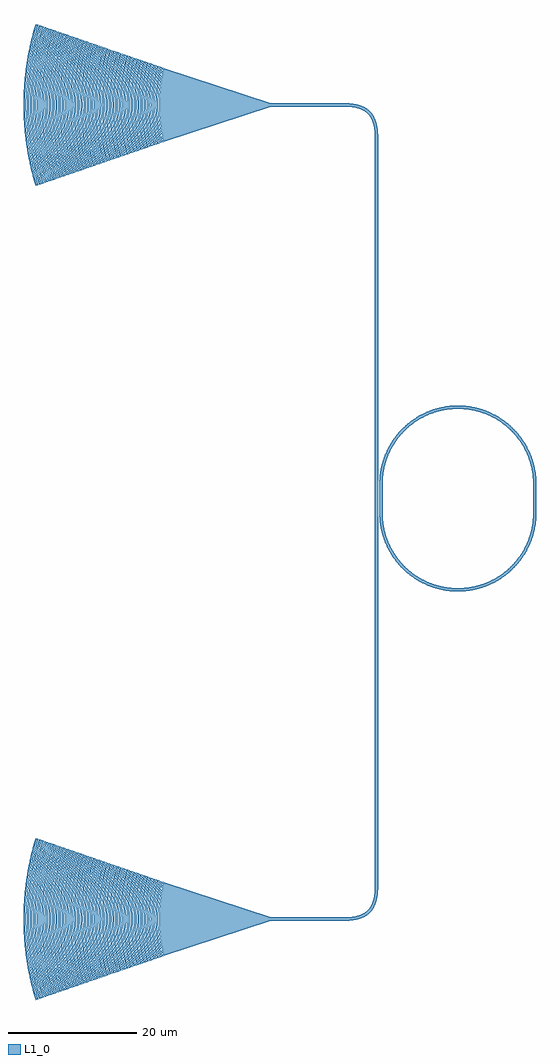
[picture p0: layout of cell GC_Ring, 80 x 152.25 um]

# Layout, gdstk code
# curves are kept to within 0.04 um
from math import pi, radians
import gdstk
lib = gdstk.Library(unit=1e-6, precision=1e-09)
def R(c, l, rs):  # rectangles x0, y0, x1, y1
    for r in rs: c.add(gdstk.rectangle(r[:2], r[2:], *l))
def P(c, l, *ps):  # polygons
    for p in ps: c.add(gdstk.Polygon(p, *l))
L1_0 = (1, 0)

rwg_2 = lib.new_cell('rwg_2')
P(rwg_2, L1_0, [(0,-0.25),(0,0.25),(11.852,0.25),(13.153,0.35),(14.145,0.599),(14.941,0.998),(15.558,1.552),(16.016,2.276),(16.372,3.431),(16.5,4.898),(16.5,35.85),(17,35.85),(17,4.893),(16.863,3.34),(16.675,2.589),(16.435,1.994),(15.892,1.173),(15.158,0.542),(14.161,0.075),(13.048,-0.171),(11.857,-0.25)])

racetrack = lib.new_cell('racetrack')
R(racetrack, L1_0, [(0,-0.25,4.5,0.25), (0,-0.25,1,0.25), (4.5,-0.25,55.5,0.25), (55.5,-0.25,60,0.25), (59,-0.25,60,0.25), (27.75,0.45,32.25,0.95), (27.75,24.45,32.25,24.95)])
P(racetrack, L1_0, [(27.75,0.45),(26.82,0.485),(25.742,0.616),(24.83,0.803),(23.788,1.108),(22.777,1.505),(21.805,1.989),(20.88,2.558),(20.13,3.109),(19.31,3.821),(18.455,4.721),(17.785,5.575),(17.115,6.62),(16.433,8.012),(16.439,9.517),(17.039,7.867),(17.959,6.202),(19.136,4.707),(20.424,3.513),(21.252,2.909),(22.13,2.38),(23.869,1.609),(25.71,1.128),(26.726,0.995),(27.75,0.95)],
  [(16.433,8.012),(16.016,9.181),(15.751,10.234),(15.563,11.461),(15.5,12.7),(16,12.7),(16.11,11.094),(16.439,9.517)],
  [(36.212,1.108),(36.131,1.609),(37.741,2.311),(39.228,3.245),(40.662,4.495),(41.791,5.841),(42.706,7.339),(43.434,9.097),(43.869,10.949),(44,12.7),(44.5,12.7),(44.359,10.845),(44.147,9.78),(43.891,8.885),(43.179,7.166),(42.215,5.575),(41.021,4.148),(39.625,2.919),(38.73,2.304),(37.922,1.842)],
  [(32.25,0.45),(32.25,0.95),(33.274,0.995),(34.29,1.128),(36.131,1.609),(36.212,1.108),(35.769,0.966),(34.105,0.591)],
  [(44,12.7),(43.89,14.306),(43.521,16.023),(42.9,17.666),(42.041,19.198),(40.864,20.693),(39.461,21.978),(37.87,23.02),(36.131,23.791),(36.212,24.292),(37.922,23.558),(38.73,23.096),(39.625,22.481),(40.462,21.79),(41.129,21.14),(41.744,20.441),(42.392,19.57),(42.961,18.645),(43.445,17.673),(43.842,16.662),(44.183,15.469),(44.42,14.094),(44.5,12.7)],
  [(36.131,23.791),(34.29,24.272),(33.274,24.405),(32.25,24.45),(32.25,24.95),(34.105,24.809),(35.769,24.434),(36.212,24.292)],
  [(16.439,15.883),(16.433,17.388),(17.115,18.78),(17.785,19.825),(18.455,20.679),(19.31,21.579),(20.13,22.291),(20.88,22.842),(21.805,23.411),(22.777,23.895),(23.788,24.292),(24.83,24.597),(25.742,24.784),(26.82,24.915),(27.75,24.95),(27.75,24.45),(26.726,24.405),(25.71,24.272),(23.869,23.791),(22.13,23.02),(21.252,22.491),(20.424,21.887),(19.136,20.693),(17.959,19.198),(17.039,17.533)],
  [(15.5,12.7),(15.563,13.939),(15.751,15.166),(16.016,16.219),(16.433,17.388),(16.439,15.883),(16.11,14.306),(16,12.7)])

rwg_1 = lib.new_cell('rwg_1')
P(rwg_1, L1_0, [(16.5,-31.65),(16.5,-4.898),(16.356,-3.35),(16.176,-2.674),(15.955,-2.153),(15.474,-1.456),(14.831,-0.927),(14.076,-0.574),(13.068,-0.337),(11.852,-0.25),(0,-0.25),(0,0.25),(11.857,0.25),(13.048,0.171),(14.161,-0.075),(15.093,-0.501),(15.842,-1.118),(16.4,-1.924),(16.675,-2.589),(16.829,-3.166),(16.953,-3.985),(17,-4.893),(17,-31.65)])

grating_coupler = lib.new_cell('grating_coupler')
R(grating_coupler, L1_0, [(-1,-0.25,0,0.25)])
P(grating_coupler, L1_0, [(-17.218,-5.929),(-17.516,-4.634),(-17.773,-3.095),(-17.918,-1.669),(-17.977,-0.119),(-17.941,1.311),(-17.803,2.858),(-17.562,4.398),(-17.218,5.929),(-16.972,5.844),(-17.288,4.452),(-17.532,2.934),(-17.675,1.41),(-17.717,0.118),(-17.675,-1.41),(-17.532,-2.934),(-17.288,-4.452),(-16.972,-5.844)],
  [(-16.869,-5.809),(-17.036,-5.118),(-17.182,-4.424),(-17.325,-3.613),(-17.409,-3.032),(-17.491,-2.334),(-17.559,-1.518),(-17.59,-0.934),(-17.608,-0.117),(-17.604,0.467),(-17.573,1.284),(-17.513,2.101),(-17.439,2.799),(-17.343,3.497),(-17.226,4.193),(-17.062,5.002),(-16.869,5.809),(-16.795,5.783),(-16.962,5.095),(-17.129,4.29),(-17.284,3.366),(-17.389,2.555),(-17.446,1.975),(-17.495,1.279),(-17.53,0.116),(-17.526,-0.465),(-17.495,-1.279),(-17.446,-1.975),(-17.389,-2.555),(-17.284,-3.366),(-17.129,-4.29),(-16.962,-5.095),(-16.795,-5.783)],
  [(-17.744,-6.11),(-18.054,-4.777),(-18.304,-3.313),(-18.472,-1.72),(-18.533,-0.123),(-18.488,1.475),(-18.352,2.946),(-18.102,4.533),(-17.744,6.11),(-17.498,6.025),(-17.826,4.59),(-18.08,3.026),(-18.213,1.696),(-18.273,0.121),(-18.229,-1.454),(-18.08,-3.026),(-17.826,-4.59),(-17.498,-6.025)],
  [(-17.395,-5.99),(-17.569,-5.278),(-17.721,-4.563),(-17.85,-3.846),(-17.973,-3.008),(-18.054,-2.287),(-18.113,-1.566),(-18.145,-0.964),(-18.164,-0.12),(-18.157,0.602),(-18.113,1.566),(-18.054,2.287),(-17.973,3.008),(-17.85,3.846),(-17.721,4.563),(-17.569,5.278),(-17.395,5.99),(-17.321,5.964),(-17.521,5.137),(-17.668,4.425),(-17.812,3.591),(-17.911,2.875),(-17.988,2.158),(-18.035,1.559),(-18.067,0.959),(-18.086,0.12),(-18.079,-0.6),(-18.05,-1.319),(-17.988,-2.158),(-17.939,-2.636),(-17.812,-3.591),(-17.668,-4.425),(-17.521,-5.137),(-17.321,-5.964)],
  [(-18.269,-6.291),(-18.641,-4.668),(-18.885,-3.16),(-19.034,-1.645),(-19.089,-0.127),(-19.05,1.392),(-18.885,3.16),(-18.641,4.668),(-18.269,6.291),(-18.024,6.206),(-18.365,4.729),(-18.612,3.242),(-18.775,1.623),(-18.829,0.125),(-18.791,-1.373),(-18.644,-2.993),(-18.389,-4.605),(-18.024,-6.206)],
  [(-17.921,-6.171),(-18.073,-5.56),(-18.259,-4.702),(-18.373,-4.087),(-18.505,-3.223),(-18.593,-2.481),(-18.667,-1.613),(-18.705,-0.869),(-18.72,-0.124),(-18.709,0.745),(-18.682,1.365),(-18.617,2.233),(-18.537,2.976),(-18.414,3.84),(-18.283,4.579),(-18.157,5.193),(-17.921,6.171),(-17.847,6.145),(-18.082,5.171),(-18.231,4.437),(-18.357,3.701),(-18.46,2.963),(-18.54,2.224),(-18.597,1.483),(-18.627,0.865),(-18.642,0.124),(-18.64,-0.371),(-18.611,-1.236),(-18.551,-2.1),(-18.489,-2.717),(-18.357,-3.701),(-18.231,-4.437),(-18.082,-5.171),(-17.847,-6.145)],
  [(-18.795,-6.472),(-19.155,-4.932),(-19.416,-3.382),(-19.579,-1.823),(-19.645,-0.13),(-19.597,1.563),(-19.45,3.122),(-19.155,4.932),(-18.795,6.472),(-18.549,6.387),(-18.903,4.868),(-19.16,3.337),(-19.329,1.671),(-19.385,0.129),(-19.329,-1.671),(-19.177,-3.209),(-18.903,-4.868),(-18.549,-6.387)],
  [(-18.446,-6.352),(-18.663,-5.472),(-18.847,-4.587),(-18.998,-3.7),(-19.086,-3.064),(-19.181,-2.172),(-19.229,-1.534),(-19.265,-0.767),(-19.276,-0.128),(-19.265,0.767),(-19.229,1.534),(-19.181,2.172),(-19.086,3.064),(-18.998,3.7),(-18.847,4.587),(-18.663,5.472),(-18.446,6.352),(-18.373,6.326),(-18.588,5.45),(-18.747,4.695),(-18.902,3.811),(-19.009,3.051),(-19.092,2.29),(-19.143,1.655),(-19.187,0.764),(-19.198,0.127),(-19.187,-0.764),(-19.159,-1.4),(-19.114,-2.036),(-19.039,-2.798),(-18.902,-3.811),(-18.771,-4.569),(-18.588,-5.45),(-18.373,-6.326)],
  [(-19.321,-6.653),(-19.72,-4.939),(-19.982,-3.344),(-20.133,-1.875),(-20.201,-0.134),(-20.151,1.607),(-19.982,3.344),(-19.72,4.939),(-19.321,6.653),(-19.075,6.568),(-19.415,5.137),(-19.708,3.432),(-19.874,1.851),(-19.941,0.132),(-19.892,-1.586),(-19.725,-3.301),(-19.493,-4.745),(-19.075,-6.568)],
  [(-18.972,-6.533),(-19.196,-5.628),(-19.362,-4.849),(-19.502,-4.067),(-19.618,-3.283),(-19.721,-2.366),(-19.783,-1.578),(-19.816,-0.921),(-19.832,-0.132),(-19.824,0.658),(-19.783,1.578),(-19.721,2.366),(-19.618,3.283),(-19.502,4.067),(-19.362,4.849),(-19.196,5.628),(-18.972,6.533),(-18.898,6.507),(-19.122,5.606),(-19.286,4.83),(-19.447,3.921),(-19.574,3.009),(-19.644,2.356),(-19.697,1.702),(-19.738,0.917),(-19.754,0.131),(-19.746,-0.655),(-19.713,-1.441),(-19.656,-2.226),(-19.574,-3.009),(-19.447,-3.921),(-19.286,-4.83),(-19.122,-5.606),(-18.898,-6.507)],
  [(-19.847,-6.834),(-20.232,-5.21),(-20.53,-3.436),(-20.696,-1.789),(-20.757,-0.138),(-20.705,1.651),(-20.548,3.299),(-20.286,4.938),(-19.847,6.834),(-19.601,6.749),(-20.007,5.011),(-20.274,3.393),(-20.437,1.766),(-20.497,0.136),(-20.446,-1.631),(-20.274,-3.393),(-20.007,-5.011),(-19.601,-6.749)],
  [(-19.498,-6.714),(-19.699,-5.917),(-19.874,-5.118),(-20.024,-4.315),(-20.148,-3.509),(-20.232,-2.836),(-20.319,-1.892),(-20.366,-1.082),(-20.388,-0.135),(-20.38,0.676),(-20.337,1.622),(-20.26,2.567),(-20.166,3.375),(-20.024,4.315),(-19.901,4.984),(-19.73,5.784),(-19.498,6.714),(-19.424,6.688),(-19.655,5.762),(-19.851,4.832),(-20.013,3.897),(-20.123,3.094),(-20.196,2.422),(-20.251,1.75),(-20.298,0.808),(-20.31,0.135),(-20.302,-0.673),(-20.268,-1.481),(-20.22,-2.154),(-20.139,-2.96),(-20.013,-3.897),(-19.851,-4.832),(-19.655,-5.762),(-19.424,-6.688)],
  [(-20.372,-7.015),(-20.77,-5.348),(-21.059,-3.668),(-21.24,-1.978),(-21.313,-0.141),(-21.268,1.554),(-21.097,3.387),(-20.826,5.069),(-20.372,7.015),(-20.126,6.93),(-20.546,5.146),(-20.822,3.484),(-20.991,1.814),(-21.053,0.14),(-21.009,-1.535),(-20.822,-3.484),(-20.546,-5.146),(-20.126,-6.93)],
  [(-20.023,-6.895),(-20.199,-6.214),(-20.413,-5.256),(-20.544,-4.569),(-20.696,-3.605),(-20.812,-2.636),(-20.882,-1.805),(-20.921,-1.111),(-20.944,-0.139),(-20.931,0.833),(-20.882,1.805),(-20.812,2.636),(-20.696,3.605),(-20.544,4.569),(-20.413,5.256),(-20.199,6.214),(-20.023,6.895),(-19.95,6.869),(-20.189,5.919),(-20.365,5.1),(-20.537,4.141),(-20.673,3.178),(-20.761,2.351),(-20.814,1.66),(-20.853,0.83),(-20.866,0.138),(-20.861,-0.554),(-20.814,-1.66),(-20.761,-2.351),(-20.673,-3.178),(-20.537,-4.141),(-20.365,-5.1),(-20.189,-5.919),(-19.95,-6.869)],
  [(-20.898,-7.196),(-21.309,-5.487),(-21.627,-3.619),(-21.804,-1.885),(-21.869,-0.145),(-21.814,1.74),(-21.627,3.619),(-21.309,5.487),(-20.898,7.196),(-20.652,7.111),(-21.057,5.422),(-21.351,3.719),(-21.545,1.862),(-21.609,0.143),(-21.563,-1.576),(-21.389,-3.434),(-21.057,-5.422),(-20.652,-7.111)],
  [(-20.549,-7.076),(-20.764,-6.237),(-20.98,-5.254),(-21.135,-4.408),(-21.263,-3.558),(-21.363,-2.706),(-21.446,-1.71),(-21.487,-0.855),(-21.5,-0.143),(-21.487,0.855),(-21.446,1.71),(-21.363,2.706),(-21.263,3.558),(-21.135,4.408),(-20.98,5.254),(-20.764,6.237),(-20.549,7.076),(-20.475,7.05),(-20.722,6.075),(-20.932,5.095),(-21.082,4.251),(-21.222,3.263),(-21.3,2.555),(-21.368,1.704),(-21.409,0.852),(-21.422,0.142),(-21.413,-0.71),(-21.377,-1.562),(-21.326,-2.272),(-21.222,-3.263),(-21.082,-4.251),(-20.932,-5.095),(-20.722,-6.075),(-20.475,-7.05)],
  [(-21.424,-7.377),(-21.847,-5.626),(-22.155,-3.859),(-22.358,-1.932),(-22.425,-0.149),(-22.368,1.784),(-22.195,3.563),(-21.877,5.479),(-21.424,7.377),(-21.178,7.292),(-21.565,5.706),(-21.899,3.814),(-22.099,1.91),(-22.165,0.147),(-22.109,-1.763),(-21.919,-3.668),(-21.625,-5.416),(-21.178,-7.292)],
  [(-21.075,-7.257),(-21.331,-6.254),(-21.49,-5.534),(-21.655,-4.666),(-21.791,-3.795),(-21.915,-2.776),(-21.98,-2.047),(-22.037,-1.024),(-22.056,-0.146),(-22.047,0.731),(-22,1.755),(-21.915,2.776),(-21.811,3.65),(-21.655,4.666),(-21.49,5.534),(-21.331,6.254),(-21.075,7.257),(-21.001,7.231),(-21.256,6.232),(-21.472,5.226),(-21.627,4.361),(-21.772,3.347),(-21.866,2.476),(-21.922,1.748),(-21.959,1.02),(-21.978,0.146),(-21.969,-0.729),(-21.931,-1.603),(-21.866,-2.476),(-21.772,-3.347),(-21.627,-4.361),(-21.472,-5.226),(-21.256,-6.232),(-21.001,-7.231)],
  [(-21.949,-7.558),(-22.354,-5.914),(-22.681,-4.105),(-22.901,-2.132),(-22.981,-0.152),(-22.922,1.828),(-22.744,3.651),(-22.416,5.614),(-21.949,7.558),(-21.704,7.473),(-22.134,5.699),(-22.467,3.76),(-22.653,1.958),(-22.721,0.151),(-22.663,-1.807),(-22.467,-3.76),(-22.134,-5.699),(-21.704,-7.473)],
  [(-21.601,-7.438),(-21.829,-6.557),(-22.028,-5.672),(-22.224,-4.635),(-22.36,-3.742),(-22.451,-2.996),(-22.544,-1.949),(-22.593,-1.05),(-22.612,-0.15),(-22.598,0.9),(-22.554,1.799),(-22.481,2.697),(-22.36,3.742),(-22.224,4.635),(-22.028,5.672),(-21.829,6.557),(-21.601,7.438),(-21.527,7.412),(-21.754,6.535),(-21.953,5.653),(-22.122,4.767),(-22.283,3.729),(-22.389,2.836),(-22.466,1.942),(-22.515,1.046),(-22.534,0.149),(-22.52,-0.897),(-22.486,-1.643),(-22.418,-2.538),(-22.321,-3.432),(-22.172,-4.471),(-21.983,-5.505),(-21.754,-6.535),(-21.527,-7.412)],
  [(-22.475,-7.739),(-22.956,-5.749),(-23.272,-3.894),(-23.466,-2.028),(-23.537,-0.156),(-23.486,1.716),(-23.293,3.739),(-22.956,5.749),(-22.475,7.739),(-22.229,7.654),(-22.672,5.838),(-22.994,4.005),(-23.207,2.006),(-23.277,0.154),(-23.227,-1.698),(-23.036,-3.698),(-22.672,-5.838),(-22.229,-7.654)],
  [(-22.126,-7.619),(-22.398,-6.567),(-22.598,-5.659),(-22.742,-4.9),(-22.887,-3.986),(-23.002,-3.069),(-23.087,-2.15),(-23.142,-1.229),(-23.168,-0.154),(-23.158,0.768),(-23.118,1.69),(-23.048,2.61),(-22.908,3.833),(-22.768,4.748),(-22.598,5.659),(-22.398,6.567),(-22.126,7.619),(-22.052,7.593),(-22.287,6.695),(-22.522,5.64),(-22.717,4.581),(-22.871,3.516),(-22.956,2.754),(-23.031,1.837),(-23.07,1.072),(-23.09,0.153),(-23.084,-0.613),(-23.049,-1.531),(-22.984,-2.448),(-22.89,-3.364),(-22.765,-4.277),(-22.582,-5.338),(-22.323,-6.545),(-22.052,-7.593)],
  [(-23.001,-7.92),(-23.429,-6.199),(-23.798,-4.145),(-24.02,-2.076),(-24.093,-0.16),(-24.041,1.757),(-23.842,3.827),(-23.495,5.884),(-23.001,7.92),(-22.755,7.835),(-23.243,5.821),(-23.542,4.1),(-23.761,2.054),(-23.833,0.158),(-23.761,-2.054),(-23.564,-3.943),(-23.243,-5.821),(-22.755,-7.835)],
  [(-22.652,-7.8),(-22.894,-6.877),(-23.105,-5.95),(-23.285,-5.017),(-23.434,-4.082),(-23.57,-2.986),(-23.652,-2.044),(-23.709,-0.944),(-23.724,-0.157),(-23.714,0.787),(-23.663,1.887),(-23.57,2.986),(-23.456,3.925),(-23.312,4.862),(-23.105,5.95),(-22.894,6.877),(-22.652,7.8),(-22.578,7.774),(-22.893,6.547),(-23.093,5.621),(-23.262,4.69),(-23.4,3.756),(-23.508,2.82),(-23.585,1.881),(-23.631,0.941),(-23.646,0.157),(-23.64,-0.627),(-23.604,-1.568),(-23.537,-2.507),(-23.44,-3.445),(-23.287,-4.535),(-23.093,-5.621),(-22.893,-6.547),(-22.578,-7.774)],
  [(-23.527,-8.101),(-24.001,-6.18),(-24.369,-4.078),(-24.585,-1.961),(-24.649,-0.163),(-24.585,1.961),(-24.369,4.078),(-24.001,6.18),(-23.527,8.101),(-23.281,8.016),(-23.749,6.115),(-24.09,4.196),(-24.314,2.102),(-24.389,0.162),(-24.326,-1.94),(-24.134,-3.874),(-23.815,-5.797),(-23.281,-8.016)],
  [(-23.178,-7.981),(-23.465,-6.879),(-23.676,-5.93),(-23.829,-5.135),(-24.005,-4.017),(-24.121,-3.056),(-24.206,-2.092),(-24.259,-1.127),(-24.28,-0.161),(-24.265,0.966),(-24.217,1.931),(-24.121,3.056),(-24.005,4.017),(-23.829,5.135),(-23.676,5.93),(-23.465,6.879),(-23.178,7.981),(-23.104,7.955),(-23.352,7.015),(-23.601,5.911),(-23.807,4.8),(-23.97,3.685),(-24.06,2.886),(-24.139,1.925),(-24.187,0.963),(-24.202,0.161),(-24.187,-0.963),(-24.149,-1.765),(-24.09,-2.566),(-23.97,-3.685),(-23.807,-4.8),(-23.601,-5.911),(-23.352,-7.015),(-23.104,-7.955)],
  [(-24.052,-8.282),(-24.574,-6.154),(-24.917,-4.17),(-25.115,-2.339),(-25.205,-0.167),(-25.15,1.838),(-24.94,4.004),(-24.574,6.154),(-24.052,8.282),(-23.806,8.197),(-24.322,6.091),(-24.661,4.127),(-24.88,1.984),(-24.945,0.165),(-24.88,-1.984),(-24.661,-4.127),(-24.322,-6.091),(-23.806,-8.197)],
  [(-23.703,-8.162),(-23.959,-7.197),(-24.182,-6.227),(-24.372,-5.252),(-24.53,-4.272),(-24.655,-3.29),(-24.748,-2.304),(-24.814,-1.153),(-24.836,-0.165),(-24.825,0.824),(-24.782,1.811),(-24.69,2.962),(-24.553,4.109),(-24.401,5.089),(-24.216,6.065),(-23.959,7.197),(-23.703,8.162),(-23.63,8.136),(-23.884,7.175),(-24.14,6.046),(-24.352,4.91),(-24.498,3.933),(-24.612,2.952),(-24.682,2.133),(-24.73,1.313),(-24.758,0.164),(-24.747,-0.821),(-24.704,-1.805),(-24.643,-2.625),(-24.54,-3.606),(-24.379,-4.748),(-24.173,-5.884),(-23.962,-6.853),(-23.63,-8.136)],
  [(-24.578,-8.463),(-25.078,-6.457),(-25.441,-4.431),(-25.669,-2.39),(-25.761,-0.171),(-25.704,1.879),(-25.489,4.092),(-25.078,6.457),(-24.578,8.463),(-24.332,8.378),(-24.826,6.393),(-25.209,4.219),(-25.41,2.366),(-25.501,0.169),(-25.445,-1.86),(-25.232,-4.051),(-24.861,-6.226),(-24.332,-8.378)],
  [(-24.229,-8.343),(-24.532,-7.192),(-24.72,-6.365),(-24.916,-5.369),(-25.078,-4.368),(-25.206,-3.363),(-25.314,-2.188),(-25.37,-1.179),(-25.392,-0.168),(-25.381,0.842),(-25.336,1.852),(-25.242,3.028),(-25.124,4.033),(-24.945,5.202),(-24.755,6.2),(-24.532,7.192),(-24.229,8.343),(-24.155,8.317),(-24.417,7.335),(-24.645,6.346),(-24.869,5.186),(-25.047,4.021),(-25.164,3.018),(-25.248,2.014),(-25.292,1.175),(-25.314,0.168),(-25.298,-1.007),(-25.248,-2.014),(-25.164,-3.018),(-25.069,-3.854),(-24.897,-5.02),(-24.713,-6.015),(-24.457,-7.17),(-24.155,-8.317)],
  [(-25.104,-8.644),(-25.616,-6.596),(-26.014,-4.353),(-26.235,-2.268),(-26.317,-0.175),(-26.259,1.919),(-26.038,4.18),(-25.688,6.253),(-25.104,8.644),(-24.858,8.559),(-25.364,6.531),(-25.733,4.482),(-25.963,2.418),(-26.057,0.173),(-25.988,-2.073),(-25.781,-4.139),(-25.4,-6.361),(-24.858,-8.559)],
  [(-24.755,-8.524),(-25.024,-7.517),(-25.259,-6.504),(-25.459,-5.486),(-25.65,-4.292),(-25.776,-3.265),(-25.868,-2.236),(-25.925,-1.204),(-25.948,-0.172),(-25.931,1.032),(-25.88,2.064),(-25.794,3.094),(-25.65,4.292),(-25.459,5.486),(-25.259,6.504),(-25.024,7.517),(-24.755,8.524),(-24.681,8.498),(-24.864,7.83),(-25.031,7.159),(-25.254,6.147),(-25.442,5.13),(-25.619,3.938),(-25.733,2.914),(-25.802,2.058),(-25.847,1.201),(-25.87,0.172),(-25.859,-0.858),(-25.813,-1.887),(-25.733,-2.914),(-25.619,-3.938),(-25.442,-5.13),(-25.254,-6.147),(-25.031,-7.159),(-24.864,-7.83),(-24.681,-8.498)],
  [(-25.629,-8.825),(-26.154,-6.735),(-26.537,-4.622),(-26.776,-2.493),(-26.873,-0.178),(-26.802,2.138),(-26.562,4.445),(-26.192,6.559),(-25.629,8.825),(-25.384,8.74),(-25.903,6.67),(-26.281,4.577),(-26.517,2.469),(-26.613,0.177),(-26.543,-2.117),(-26.306,-4.402),(-25.94,-6.496),(-25.384,-8.74)],
  [(-25.28,-8.705),(-25.513,-7.849),(-25.797,-6.643),(-26.003,-5.603),(-26.173,-4.559),(-26.308,-3.51),(-26.422,-2.284),(-26.487,-1.055),(-26.504,-0.176),(-26.487,1.055),(-26.434,2.108),(-26.346,3.16),(-26.198,4.384),(-26.034,5.429),(-25.834,6.47),(-25.599,7.505),(-25.28,8.705),(-25.207,8.679),(-25.482,7.655),(-25.758,6.451),(-25.987,5.24),(-26.145,4.197),(-26.25,3.325),(-26.344,2.277),(-26.409,1.051),(-26.426,0.175),(-26.419,-0.701),(-26.378,-1.752),(-26.285,-2.976),(-26.168,-4.023),(-26.016,-5.066),(-25.794,-6.278),(-25.482,-7.655),(-25.207,-8.679)],
  [(-26.155,-9.006),(-26.693,-6.873),(-27.11,-4.537),(-27.343,-2.363),(-27.429,-0.182),(-27.356,2.182),(-27.11,4.537),(-26.693,6.873),(-26.155,9.006),(-25.909,8.921),(-26.479,6.631),(-26.854,4.494),(-27.084,2.341),(-27.169,0.18),(-27.097,-2.161),(-26.879,-4.315),(-26.479,-6.631),(-25.909,-8.921)],
  [(-25.806,-8.886),(-26.089,-7.837),(-26.336,-6.781),(-26.578,-5.543),(-26.747,-4.476),(-26.86,-3.584),(-26.976,-2.332),(-27.036,-1.256),(-27.06,-0.179),(-27.042,1.077),(-26.976,2.332),(-26.86,3.584),(-26.747,4.476),(-26.578,5.543),(-26.336,6.781),(-26.089,7.837),(-25.806,8.886),(-25.732,8.86),(-26.014,7.815),(-26.26,6.762),(-26.502,5.527),(-26.67,4.463),(-26.802,3.395),(-26.898,2.325),(-26.958,1.252),(-26.982,0.179),(-26.97,-0.895),(-26.922,-1.968),(-26.838,-3.039),(-26.718,-4.107),(-26.562,-5.173),(-26.334,-6.41),(-26.058,-7.64),(-25.732,-8.86)],
  [(-26.681,-9.187),(-27.231,-7.012),(-27.659,-4.629),(-27.897,-2.411),(-27.985,-0.186),(-27.91,2.226),(-27.659,4.629),(-27.231,7.012),(-26.681,9.187),(-26.435,9.102),(-26.98,6.947),(-27.376,4.768),(-27.638,2.389),(-27.725,0.184),(-27.663,-2.022),(-27.428,-4.403),(-26.98,-6.947),(-26.435,-9.102)],
  [(-26.332,-9.067),(-26.576,-8.176),(-26.874,-6.92),(-27.09,-5.837),(-27.269,-4.749),(-27.411,-3.657),(-27.516,-2.562),(-27.591,-1.282),(-27.616,-0.183),(-27.604,0.916),(-27.542,2.197),(-27.45,3.293),(-27.295,4.568),(-27.09,5.837),(-26.874,6.92),(-26.576,8.176),(-26.332,9.067),(-26.258,9.041),(-26.547,7.974),(-26.837,6.721),(-27.046,5.64),(-27.243,4.373),(-27.372,3.283),(-27.465,2.19),(-27.52,1.096),(-27.538,0.183),(-27.526,-0.913),(-27.465,-2.19),(-27.39,-3.101),(-27.267,-4.192),(-27.077,-5.46),(-26.837,-6.721),(-26.547,-7.974),(-26.258,-9.041)],
  [(-27.206,-9.368),(-27.77,-7.151),(-28.18,-4.908),(-28.437,-2.648),(-28.541,-0.189),(-28.477,2.081),(-28.368,3.403),(-28.207,4.72),(-27.77,7.151),(-27.206,9.368),(-26.961,9.283),(-27.558,6.902),(-27.951,4.677),(-28.192,2.437),(-28.281,0.188),(-28.205,-2.25),(-27.977,-4.491),(-27.558,-6.902),(-26.961,-9.283)],
  [(-26.858,-9.248),(-27.2,-7.974),(-27.452,-6.875),(-27.699,-5.585),(-27.843,-4.659),(-28.002,-3.359),(-28.097,-2.241),(-28.147,-1.308),(-28.172,-0.187),(-28.159,0.934),(-28.097,2.241),(-28.002,3.359),(-27.869,4.474),(-27.699,5.585),(-27.452,6.875),(-27.2,7.974),(-26.858,9.248),(-26.784,9.222),(-27.125,7.952),(-27.376,6.856),(-27.622,5.57),(-27.792,4.462),(-27.905,3.535),(-28.006,2.421),(-28.069,1.304),(-28.094,0.186),(-28.076,-1.118),(-28.031,-2.049),(-27.943,-3.164),(-27.817,-4.276),(-27.622,-5.57),(-27.376,-6.856),(-27.125,-7.952),(-26.784,-9.222)],
  [(-27.732,-9.549),(-28.349,-7.1),(-28.756,-4.812),(-29.005,-2.507),(-29.097,-0.193),(-29.019,2.314),(-28.756,4.812),(-28.349,7.1),(-27.732,9.549),(-27.486,9.464),(-28.056,7.225),(-28.472,4.959),(-28.746,2.485),(-28.837,0.191),(-28.772,-2.103),(-28.526,-4.579),(-28.097,-7.037),(-27.486,-9.464)],
  [(-27.383,-9.429),(-27.686,-8.317),(-27.951,-7.197),(-28.211,-5.883),(-28.392,-4.751),(-28.534,-3.615),(-28.623,-2.665),(-28.694,-1.524),(-28.728,-0.191),(-28.715,0.953),(-28.651,2.285),(-28.554,3.425),(-28.392,4.751),(-28.211,5.883),(-27.951,7.197),(-27.686,8.317),(-27.383,9.429),(-27.31,9.403),(-27.612,8.294),(-27.916,6.991),(-28.167,5.679),(-28.341,4.55),(-28.476,3.416),(-28.56,2.469),(-28.624,1.33),(-28.65,0.19),(-28.642,-0.76),(-28.597,-1.899),(-28.513,-3.037),(-28.366,-4.361),(-28.199,-5.492),(-28.066,-6.243),(-27.916,-6.991),(-27.612,-8.294),(-27.31,-9.403)],
  [(-28.258,-9.73),(-28.847,-7.428),(-29.304,-4.904),(-29.559,-2.555),(-29.653,-0.197),(-29.573,2.359),(-29.304,4.904),(-28.847,7.428),(-28.258,9.73),(-28.012,9.645),(-28.595,7.363),(-29.048,4.861),(-29.3,2.532),(-29.393,0.195),(-29.314,-2.338),(-29.048,-4.861),(-28.595,-7.363),(-28.012,-9.645)],
  [(-27.909,-9.61),(-28.267,-8.287),(-28.531,-7.145),(-28.755,-5.997),(-28.912,-5.036),(-29.064,-3.878),(-29.191,-2.523),(-29.265,-1.165),(-29.284,-0.194),(-29.265,1.165),(-29.205,2.329),(-29.106,3.491),(-28.94,4.843),(-28.755,5.997),(-28.531,7.145),(-28.267,8.287),(-27.909,9.61),(-27.835,9.584),(-28.192,8.265),(-28.455,7.126),(-28.679,5.981),(-28.89,4.638),(-29.008,3.675),(-29.114,2.516),(-29.187,1.162),(-29.206,0.194),(-29.193,-0.968),(-29.14,-2.13),(-29.048,-3.289),(-28.916,-4.445),(-28.745,-5.598),(-28.495,-6.936),(-28.192,-8.265),(-27.835,-9.584)],
  [(-28.784,-9.911),(-29.385,-7.567),(-29.823,-5.194),(-30.113,-2.603),(-30.209,-0.2),(-30.127,2.403),(-29.852,4.996),(-29.428,7.37),(-28.784,9.911),(-28.538,9.826),(-29.176,7.307),(-29.596,4.953),(-29.854,2.58),(-29.949,0.199),(-29.881,-2.184),(-29.624,-4.756),(-29.176,-7.307),(-28.538,-9.826)],
  [(-28.435,-9.791),(-28.751,-8.637),(-29.028,-7.475),(-29.264,-6.306),(-29.46,-5.131),(-29.615,-3.951),(-29.73,-2.768),(-29.813,-1.385),(-29.84,-0.198),(-29.826,0.989),(-29.772,2.176),(-29.678,3.36),(-29.516,4.738),(-29.334,5.915),(-29.07,7.28),(-28.8,8.444),(-28.435,9.791),(-28.361,9.765),(-28.677,8.614),(-28.994,7.261),(-29.223,6.094),(-29.439,4.726),(-29.56,3.745),(-29.682,2.367),(-29.735,1.381),(-29.762,0.197),(-29.742,-1.184),(-29.682,-2.367),(-29.56,-3.745),(-29.439,-4.726),(-29.223,-6.094),(-28.994,-7.261),(-28.677,-8.614),(-28.361,-9.765)],
  [(-29.309,-10.092),(-29.967,-7.505),(-30.401,-5.087),(-30.667,-2.651),(-30.765,-0.204),(-30.737,1.428),(-30.667,2.651),(-30.401,5.087),(-29.967,7.505),(-29.309,10.092),(-29.063,10.007),(-29.672,7.64),(-30.115,5.245),(-30.408,2.628),(-30.505,0.202),(-30.448,-2.022),(-30.251,-4.241),(-30.02,-5.846),(-29.757,-7.243),(-29.438,-8.631),(-29.063,-10.007)],
  [(-28.96,-9.972),(-29.284,-8.797),(-29.566,-7.613),(-29.844,-6.224),(-30.037,-5.026),(-30.189,-3.824),(-30.314,-2.418),(-30.376,-1.209),(-30.396,-0.202),(-30.376,1.209),(-30.314,2.418),(-30.189,3.824),(-30.037,5.026),(-29.844,6.224),(-29.566,7.613),(-29.284,8.797),(-28.96,9.972),(-28.887,9.946),(-29.259,8.578),(-29.534,7.396),(-29.802,6.009),(-29.988,4.814),(-30.153,3.414),(-30.236,2.411),(-30.298,1.206),(-30.318,0.201),(-30.304,-1.005),(-30.249,-2.211),(-30.153,-3.414),(-30.015,-4.614),(-29.802,-6.009),(-29.534,-7.396),(-29.259,-8.578),(-28.887,-9.946)],
  [(-29.835,-10.273),(-30.462,-7.844),(-30.919,-5.385),(-31.205,-2.906),(-31.321,-0.208),(-31.236,2.491),(-30.949,5.179),(-30.462,7.844),(-29.835,10.273),(-29.589,10.188),(-30.21,7.779),(-30.663,5.34),(-30.962,2.676),(-31.061,0.206),(-31.014,-1.853),(-30.825,-4.113),(-30.599,-5.749),(-30.339,-7.172),(-30.022,-8.586),(-29.589,-10.188)],
  [(-29.486,-10.153),(-29.816,-8.957),(-30.105,-7.752),(-30.351,-6.54),(-30.555,-5.322),(-30.717,-4.099),(-30.853,-2.667),(-30.924,-1.437),(-30.952,-0.205),(-30.938,1.026),(-30.868,2.462),(-30.762,3.69),(-30.614,4.915),(-30.424,6.134),(-30.149,7.55),(-29.816,8.957),(-29.486,10.153),(-29.412,10.127),(-29.742,8.934),(-30.073,7.531),(-30.312,6.321),(-30.537,4.902),(-30.685,3.681),(-30.79,2.456),(-30.846,1.433),(-30.874,0.205),(-30.86,-1.024),(-30.79,-2.456),(-30.685,-3.681),(-30.537,-4.902),(-30.312,-6.321),(-30.073,-7.531),(-29.742,-8.934),(-29.412,-10.127)],
  [(-30.361,-10.454),(-30.755,-9.017),(-31.046,-7.775),(-31.497,-5.271),(-31.775,-2.746),(-31.877,-0.211),(-31.856,1.268),(-31.79,2.535),(-31.527,5.061),(-31.046,7.775),(-30.755,9.017),(-30.361,10.454),(-30.115,10.369),(-30.749,7.918),(-31.241,5.228),(-31.516,2.724),(-31.617,0.21),(-31.545,-2.305),(-31.352,-4.395),(-31.145,-5.851),(-30.88,-7.3),(-30.505,-8.944),(-30.115,-10.369)],
  [(-30.012,-10.334),(-30.349,-9.117),(-30.643,-7.891),(-30.932,-6.451),(-31.134,-5.21),(-31.292,-3.964),(-31.407,-2.715),(-31.479,-1.462),(-31.508,-0.209),(-31.487,1.254),(-31.422,2.506),(-31.292,3.964),(-31.134,5.21),(-30.932,6.451),(-30.643,7.891),(-30.349,9.117),(-30.012,10.334),(-29.938,10.309),(-30.326,8.891),(-30.612,7.667),(-30.856,6.435),(-31.086,4.99),(-31.237,3.747),(-31.344,2.5),(-31.409,1.251),(-31.43,0.208),(-31.409,-1.251),(-31.358,-2.292),(-31.258,-3.539),(-31.114,-4.783),(-30.928,-6.023),(-30.656,-7.462),(-30.326,-8.891),(-29.938,-10.309)],
  [(-30.886,-10.635),(-31.539,-8.121),(-31.838,-6.64),(-32.046,-5.363),(-32.329,-2.794),(-32.433,-0.215),(-32.418,1.075),(-32.344,2.58),(-32.046,5.363),(-31.838,6.64),(-31.539,8.121),(-30.886,10.635),(-30.641,10.55),(-31.287,8.056),(-31.758,5.531),(-31.952,4.048),(-32.07,2.772),(-32.173,0.213),(-32.124,-1.92),(-31.928,-4.26),(-31.726,-5.743),(-31.464,-7.218),(-31.091,-8.892),(-30.641,-10.55)],
  [(-30.538,-10.515),(-30.881,-9.277),(-31.181,-8.029),(-31.438,-6.774),(-31.651,-5.513),(-31.82,-4.246),(-31.961,-2.762),(-32.034,-1.488),(-32.064,-0.213),(-32.049,1.063),(-31.976,2.55),(-31.866,3.822),(-31.682,5.302),(-31.514,6.354),(-31.227,7.821),(-30.881,9.277),(-30.538,10.515),(-30.464,10.49),(-30.807,9.254),(-31.152,7.802),(-31.4,6.548),(-31.542,5.709),(-31.635,5.078),(-31.789,3.813),(-31.883,2.756),(-31.957,1.485),(-31.986,0.212),(-31.971,-1.061),(-31.913,-2.332),(-31.81,-3.602),(-31.664,-4.868),(-31.437,-6.339),(-31.152,-7.802),(-30.807,-9.254),(-30.464,-10.49)],
  [(-31.412,-10.816),(-32.077,-8.26),(-32.562,-5.671),(-32.761,-4.15),(-32.883,-2.842),(-32.989,-0.219),(-32.967,1.313),(-32.883,2.842),(-32.594,5.454),(-32.125,8.045),(-31.822,9.33),(-31.412,10.816),(-31.166,10.731),(-31.626,9.045),(-31.918,7.769),(-32.203,6.271),(-32.453,4.549),(-32.654,2.386),(-32.729,0.217),(-32.679,-1.953),(-32.479,-4.334),(-32.273,-5.842),(-31.962,-7.556),(-31.626,-9.045),(-31.166,-10.731)],
  [(-31.063,-10.696),(-31.414,-9.437),(-31.767,-7.956),(-32.021,-6.678),(-32.23,-5.393),(-32.395,-4.104),(-32.515,-2.81),(-32.59,-1.514),(-32.62,-0.216),(-32.605,1.082),(-32.545,2.379),(-32.44,3.673),(-32.261,5.179),(-32.021,6.678),(-31.767,7.956),(-31.414,9.437),(-31.063,10.696),(-30.99,10.671),(-31.393,9.204),(-31.691,7.937),(-31.865,7.088),(-31.982,6.449),(-32.184,5.167),(-32.341,3.879),(-32.453,2.588),(-32.512,1.51),(-32.542,0.216),(-32.527,-1.079),(-32.453,-2.588),(-32.341,-3.879),(-32.184,-5.167),(-31.982,-6.449),(-31.865,-7.088),(-31.691,-7.937),(-31.393,-9.204),(-30.99,-10.671)],
  [(-31.938,-10.997),(-32.616,-8.399),(-32.886,-7.086),(-33.143,-5.546),(-33.337,-3.999),(-33.453,-2.668),(-33.545,-0.222),(-33.522,1.335),(-33.453,2.668),(-33.337,3.999),(-33.143,5.546),(-32.886,7.086),(-32.616,8.399),(-31.938,10.997),(-31.692,10.912),(-32.106,9.413),(-32.458,7.9),(-32.785,6.159),(-33.004,4.627),(-33.208,2.427),(-33.285,0.221),(-33.222,-2.207),(-33.004,-4.627),(-32.785,-6.159),(-32.458,-7.9),(-32.106,-9.413),(-31.692,-10.912)],
  [(-31.589,-10.877),(-31.946,-9.596),(-32.108,-8.953),(-32.306,-8.091),(-32.565,-6.791),(-32.779,-5.485),(-32.947,-4.174),(-33.069,-2.858),(-33.145,-1.54),(-33.176,-0.22),(-33.161,1.1),(-33.085,2.639),(-32.947,4.174),(-32.779,5.485),(-32.565,6.791),(-32.306,8.091),(-32.108,8.953),(-31.946,9.596),(-31.589,10.877),(-31.515,10.852),(-31.872,9.574),(-32.23,8.072),(-32.489,6.775),(-32.733,5.255),(-32.893,3.946),(-33.007,2.632),(-33.076,1.317),(-33.098,0.22),(-33.083,-1.097),(-33.022,-2.413),(-32.915,-3.727),(-32.763,-5.037),(-32.565,-6.342),(-32.365,-7.424),(-32.183,-8.287),(-31.927,-9.36),(-31.515,-10.852)],
  [(-32.464,-11.178),(-33.154,-8.537),(-33.471,-6.98),(-33.691,-5.638),(-33.973,-3.164),(-34.069,-1.583),(-34.101,-0.226),(-34.078,1.357),(-34.007,2.712),(-33.889,4.065),(-33.691,5.638),(-33.471,6.98),(-33.154,8.537),(-32.464,11.178),(-32.218,11.093),(-32.64,9.569),(-33.045,7.811),(-33.294,6.484),(-33.526,4.927),(-33.748,2.692),(-33.841,0.224),(-33.789,-2.019),(-33.581,-4.481),(-33.367,-6.04),(-33.045,-7.811),(-32.64,-9.569),(-32.218,-11.093)],
  [(-32.115,-11.058),(-32.479,-9.756),(-32.797,-8.445),(-33.069,-7.126),(-33.294,-5.799),(-33.473,-4.466),(-33.623,-2.906),(-33.701,-1.566),(-33.732,-0.224),(-33.716,1.118),(-33.654,2.46),(-33.545,3.798),(-33.359,5.355),(-33.149,6.684),(-32.845,8.226),(-32.535,9.539),(-32.115,11.058),(-32.041,11.033),(-32.46,9.517),(-32.77,8.207),(-33.033,6.889),(-33.282,5.343),(-33.445,4.012),(-33.545,2.899),(-33.623,1.562),(-33.654,0.223),(-33.638,-1.116),(-33.576,-2.454),(-33.528,-3.122),(-33.445,-4.012),(-33.282,-5.343),(-33.033,-6.889),(-32.77,-8.207),(-32.46,-9.517),(-32.041,-11.033)],
  [(-32.989,-11.359),(-33.693,-8.676),(-34.205,-5.957),(-34.526,-3.215),(-34.615,-1.838),(-34.657,-0.23),(-34.641,1.149),(-34.561,2.756),(-34.272,5.502),(-34.056,6.867),(-33.743,8.451),(-33.365,10.023),(-32.989,11.359),(-32.743,11.274),(-33.173,9.726),(-33.586,7.939),(-33.878,6.364),(-34.105,4.781),(-34.317,2.508),(-34.397,0.228),(-34.331,-2.28),(-34.105,-4.781),(-33.878,-6.364),(-33.586,-7.939),(-33.173,-9.726),(-32.743,-11.274)],
  [(-32.64,-11.239),(-32.953,-10.138),(-33.335,-8.584),(-33.612,-7.243),(-33.842,-5.894),(-33.969,-4.992),(-34.05,-4.314),(-34.177,-2.954),(-34.256,-1.592),(-34.288,-0.227),(-34.286,0.455),(-34.265,1.364),(-34.193,2.727),(-34.074,4.087),(-33.908,5.443),(-33.807,6.119),(-33.654,7.018),(-33.385,8.361),(-33.179,9.251),(-33.011,9.916),(-32.64,11.239),(-32.567,11.214),(-32.994,9.673),(-33.209,8.787),(-33.404,7.896),(-33.656,6.554),(-33.831,5.431),(-33.997,4.078),(-34.099,2.947),(-34.178,1.588),(-34.21,0.227),(-34.194,-1.134),(-34.131,-2.494),(-34.02,-3.852),(-33.862,-5.206),(-33.656,-6.554),(-33.404,-7.896),(-33.209,-8.787),(-32.994,-9.673),(-32.567,-11.214)],
  [(-33.515,-11.54),(-33.897,-10.183),(-34.282,-8.586),(-34.788,-5.821),(-35.098,-3.034),(-35.213,-0.234),(-35.189,1.401),(-35.115,2.801),(-34.993,4.197),(-34.788,5.821),(-34.282,8.586),(-33.897,10.183),(-33.515,11.54),(-33.269,11.455),(-33.707,9.882),(-34.079,8.295),(-34.386,6.696),(-34.626,5.088),(-34.872,2.549),(-34.953,0.232),(-34.886,-2.317),(-34.655,-4.858),(-34.424,-6.467),(-34.127,-8.067),(-33.707,-9.882),(-33.269,-11.455)],
  [(-33.166,-11.42),(-33.544,-10.076),(-33.874,-8.722),(-34.156,-7.36),(-34.279,-6.675),(-34.424,-5.761),(-34.601,-4.383),(-34.731,-3.002),(-34.811,-1.617),(-34.844,-0.231),(-34.842,0.462),(-34.82,1.386),(-34.79,2.079),(-34.731,3.002),(-34.601,4.383),(-34.424,5.761),(-34.279,6.675),(-34.156,7.36),(-33.874,8.722),(-33.544,10.076),(-33.166,11.42),(-33.092,11.395),(-33.349,10.502),(-33.584,9.605),(-33.747,8.929),(-33.945,8.024),(-34.202,6.661),(-34.38,5.519),(-34.549,4.144),(-34.67,2.765),(-34.734,1.614),(-34.766,0.231),(-34.75,-1.153),(-34.67,-2.765),(-34.549,-4.144),(-34.38,-5.519),(-34.202,-6.661),(-33.945,-8.024),(-33.747,-8.929),(-33.584,-9.605),(-33.349,-10.502),(-33.092,-11.395)],
  [(-34.041,-11.721),(-34.769,-8.953),(-35.301,-6.148),(-35.492,-4.736),(-35.652,-3.082),(-35.769,-0.237),(-35.752,1.186),(-35.67,2.845),(-35.37,5.678),(-35.146,7.087),(-34.821,8.721),(-34.49,10.112),(-34.041,11.721),(-33.795,11.637),(-34.181,10.268),(-34.619,8.426),(-34.931,6.803),(-35.177,5.169),(-35.426,2.589),(-35.509,0.236),(-35.441,-2.354),(-35.206,-4.935),(-34.97,-6.57),(-34.668,-8.195),(-34.24,-10.038),(-33.795,-11.637)],
  [(-33.692,-11.601),(-34.016,-10.465),(-34.194,-9.779),(-34.412,-8.861),(-34.699,-7.477),(-34.937,-6.085),(-35.069,-5.153),(-35.153,-4.453),(-35.285,-3.05),(-35.367,-1.643),(-35.4,-0.235),(-35.398,0.47),(-35.376,1.408),(-35.302,2.816),(-35.178,4.22),(-35.006,5.62),(-34.784,7.014),(-34.655,7.708),(-34.463,8.631),(-34.136,10.008),(-33.89,10.92),(-33.692,11.601),(-33.618,11.576),(-33.879,10.669),(-34.119,9.758),(-34.337,8.842),(-34.486,8.152),(-34.748,6.767),(-34.929,5.607),(-35.076,4.444),(-35.207,3.043),(-35.289,1.639),(-35.322,0.234),(-35.305,-1.171),(-35.24,-2.575),(-35.125,-3.977),(-34.961,-5.375),(-34.787,-6.535),(-34.533,-7.922),(-34.337,-8.842),(-34.119,-9.758),(-33.879,-10.669),(-33.618,-11.576)],
  [(-34.566,-11.902),(-35.308,-9.092),(-35.849,-6.244),(-36.187,-3.37),(-36.291,-1.686),(-36.325,-0.241),(-36.308,1.204),(-36.224,2.889),(-35.919,5.766),(-35.691,7.197),(-35.361,8.856),(-34.962,10.502),(-34.566,11.902),(-34.321,11.818),(-34.774,10.195),(-35.159,8.558),(-35.477,6.909),(-35.727,5.25),(-35.965,2.868),(-36.065,0.239),(-35.981,-2.63),(-35.757,-5.013),(-35.517,-6.672),(-35.209,-8.323),(-34.774,-10.195),(-34.321,-11.818)],
  [(-34.218,-11.782),(-34.609,-10.396),(-34.786,-9.699),(-35.003,-8.766),(-35.287,-7.359),(-35.521,-5.944),(-35.705,-4.523),(-35.82,-3.335),(-35.912,-1.907),(-35.939,-1.192),(-35.956,-0.238),(-35.939,1.192),(-35.912,1.907),(-35.856,2.86),(-35.778,3.811),(-35.705,4.523),(-35.521,5.944),(-35.287,7.359),(-35.003,8.766),(-34.786,9.699),(-34.609,10.396),(-34.218,11.782),(-34.144,11.757),(-34.409,10.836),(-34.653,9.91),(-34.822,9.213),(-35.027,8.28),(-35.253,7.108),(-35.478,5.695),(-35.653,4.277),(-35.761,3.091),(-35.844,1.665),(-35.878,0.238),(-35.861,-1.19),(-35.834,-1.903),(-35.778,-2.854),(-35.653,-4.277),(-35.478,-5.695),(-35.253,-7.108),(-35.027,-8.28),(-34.822,-9.213),(-34.653,-9.91),(-34.409,-10.836),(-34.144,-11.757)],
  [(-35.092,-12.083),(-35.495,-10.662),(-35.9,-8.991),(-36.192,-7.548),(-36.433,-6.097),(-36.76,-3.177),(-36.881,-0.245),(-36.856,1.467),(-36.778,2.933),(-36.649,4.396),(-36.433,6.097),(-36.192,7.548),(-35.9,8.991),(-35.495,10.662),(-35.092,12.083),(-34.846,11.999),(-35.246,10.588),(-35.7,8.689),(-36.023,7.015),(-36.277,5.331),(-36.519,2.913),(-36.621,0.243),(-36.55,-2.428),(-36.307,-5.09),(-36.023,-7.015),(-35.7,-8.689),(-35.246,-10.588),(-34.846,-11.999)],
  [(-34.743,-11.963),(-35.141,-10.556),(-35.489,-9.138),(-35.786,-7.711),(-36.033,-6.276),(-36.228,-4.834),(-36.373,-3.387),(-36.426,-2.662),(-36.478,-1.695),(-36.512,-0.242),(-36.495,1.211),(-36.455,2.179),(-36.41,2.904),(-36.282,4.352),(-36.104,5.796),(-35.956,6.755),(-35.831,7.472),(-35.542,8.901),(-35.203,10.321),(-35.014,11.026),(-34.743,11.963),(-34.669,11.938),(-34.94,11.003),(-35.128,10.299),(-35.359,9.355),(-35.568,8.408),(-35.798,7.218),(-36.027,5.783),(-36.179,4.583),(-36.315,3.139),(-36.4,1.691),(-36.434,0.242),(-36.417,-1.208),(-36.349,-2.657),(-36.23,-4.102),(-36.151,-4.824),(-36.027,-5.783),(-35.798,-7.218),(-35.568,-8.408),(-35.359,-9.355),(-35.128,-10.299),(-34.94,-11.003),(-34.669,-11.938)],
  [(-37.177,-4.682),(-37.364,-2.482),(-37.437,-0.248),(-37.426,0.993),(-37.378,2.234),(-37.294,3.473),(-37.177,4.682)],
  [(-35.618,-12.264),(-36.09,-10.581),(-36.492,-8.882),(-36.824,-7.171),(-37.084,-5.45),(-37.177,-4.682),(-37.177,-0.247),(-37.09,-2.711),(-36.992,-3.94),(-36.827,-5.412),(-36.569,-7.121),(-36.24,-8.821),(-35.841,-10.508),(-35.372,-12.18)],
  [(-37.177,0.247),(-37.177,4.682),(-37.084,5.45),(-36.824,7.171),(-36.492,8.882),(-36.09,10.581),(-35.618,12.264),(-35.372,12.18),(-35.841,10.508),(-36.24,8.821),(-36.569,7.121),(-36.827,5.412),(-36.992,3.94),(-37.09,2.711)],
  [(-35.269,-12.144),(-35.674,-10.716),(-36.027,-9.277),(-36.33,-7.828),(-36.462,-7.101),(-36.617,-6.128),(-36.808,-4.663),(-36.946,-3.193),(-37.033,-1.721),(-37.068,-0.246),(-37.05,1.229),(-36.981,2.703),(-36.86,4.174),(-36.78,4.907),(-36.653,5.884),(-36.503,6.858),(-36.375,7.586),(-36.081,9.036),(-35.857,9.998),(-35.674,10.716),(-35.269,12.144),(-35.195,12.119),(-35.47,11.17),(-35.722,10.216),(-35.897,9.498),(-36.109,8.536),(-36.343,7.328),(-36.576,5.872),(-36.757,4.409),(-36.869,3.187),(-36.955,1.717),(-36.99,0.245),(-36.972,-1.227),(-36.932,-2.207),(-36.887,-2.942),(-36.757,-4.409),(-36.576,-5.872),(-36.343,-7.328),(-36.109,-8.536),(-35.897,-9.498),(-35.722,-10.216),(-35.47,-11.17),(-35.195,-12.119)],
  [(-36.144,-12.445),(-36.56,-10.982),(-36.979,-9.261),(-37.281,-7.775),(-37.53,-6.28),(-37.725,-4.779),(-37.868,-3.273),(-37.957,-1.763),(-37.993,-0.252),(-37.975,1.26),(-37.904,2.77),(-37.753,4.528),(-37.53,6.28),(-37.281,7.775),(-36.979,9.261),(-36.56,10.982),(-36.144,12.445),(-35.898,12.361),(-36.311,10.908),(-36.78,8.952),(-37.114,7.228),(-37.377,5.493),(-37.644,2.751),(-37.733,0.25),(-37.66,-2.501),(-37.409,-5.244),(-37.114,-7.228),(-36.78,-8.952),(-36.437,-10.421),(-35.898,-12.361)],
  [(-35.795,-12.325),(-36.206,-10.876),(-36.566,-9.416),(-36.873,-7.945),(-37.049,-6.96),(-37.166,-6.219),(-37.359,-4.733),(-37.5,-3.241),(-37.588,-1.746),(-37.624,-0.25),(-37.606,1.248),(-37.536,2.743),(-37.412,4.236),(-37.331,4.981),(-37.202,5.972),(-36.964,7.453),(-36.826,8.191),(-36.621,9.171),(-36.27,10.634),(-36.075,11.36),(-35.795,12.325),(-35.721,12.3),(-35.933,11.578),(-36.195,10.612),(-36.434,9.64),(-36.65,8.664),(-36.888,7.438),(-37.125,5.96),(-37.282,4.723),(-37.423,3.235),(-37.511,1.743),(-37.546,0.249),(-37.528,-1.245),(-37.458,-2.738),(-37.335,-4.227),(-37.253,-4.971),(-37.125,-5.96),(-36.888,-7.438),(-36.65,-8.664),(-36.434,-9.64),(-36.195,-10.612),(-35.933,-11.578),(-35.721,-12.3)],
  [(-36.669,-12.626),(-37.092,-11.142),(-37.462,-9.646),(-37.729,-8.392),(-38.04,-6.625),(-38.248,-5.103),(-38.422,-3.321),(-38.512,-1.789),(-38.549,-0.256),(-38.531,1.278),(-38.441,3.066),(-38.305,4.595),(-38.115,6.119),(-37.871,7.636),(-37.518,9.396),(-37.092,11.142),(-36.669,12.626),(-36.423,12.542),(-36.908,10.821),(-37.32,9.084),(-37.66,7.334),(-37.927,5.574),(-38.182,3.045),(-38.289,0.254),(-38.215,-2.538),(-37.959,-5.321),(-37.703,-7.083),(-37.373,-8.835),(-36.908,-10.821),(-36.423,-12.542)],
  [(-36.32,-12.506),(-36.739,-11.036),(-37.104,-9.554),(-37.417,-8.062),(-37.676,-6.562),(-37.882,-5.055),(-38.034,-3.542),(-38.133,-2.025),(-38.162,-1.266),(-38.18,-0.253),(-38.174,0.76),(-38.154,1.519),(-38.073,3.037),(-37.939,4.551),(-37.751,6.06),(-37.637,6.813),(-37.464,7.813),(-37.16,9.306),(-36.928,10.297),(-36.739,11.036),(-36.32,12.506),(-36.247,12.481),(-36.531,11.504),(-36.791,10.522),(-36.972,9.782),(-37.191,8.792),(-37.433,7.548),(-37.674,6.048),(-37.834,4.793),(-37.977,3.282),(-38.066,1.769),(-38.102,0.253),(-38.096,-0.758),(-38.076,-1.516),(-37.995,-3.03),(-37.861,-4.541),(-37.674,-6.048),(-37.433,-7.548),(-37.191,-8.792),(-36.972,-9.782),(-36.791,-10.522),(-36.531,-11.504),(-36.247,-12.481)],
  [(-16.692,-5.748),(-17.001,-4.378),(-17.24,-2.885),(-17.38,-1.386),(-17.421,-0.116),(-17.38,1.386),(-17.24,2.885),(-17.001,4.378),(-16.692,5.748),(0,0.25),(0,-0.25)])

gc_ring = lib.new_cell('GC_Ring')
gc_ring.add(gdstk.Reference(rwg_2, (0.735,0.25)))
gc_ring.add(gdstk.Reference(racetrack, (17.485,95.85), rotation=3*pi/2))
gc_ring.add(gdstk.Reference(rwg_1, (0.735,127.25)))
gc_ring.add(gdstk.Reference(grating_coupler, (0.985,127.25)))
gc_ring.add(gdstk.Reference(grating_coupler, (0.985,0.25)))

lib.write_gds('GC_Ring.gds')
